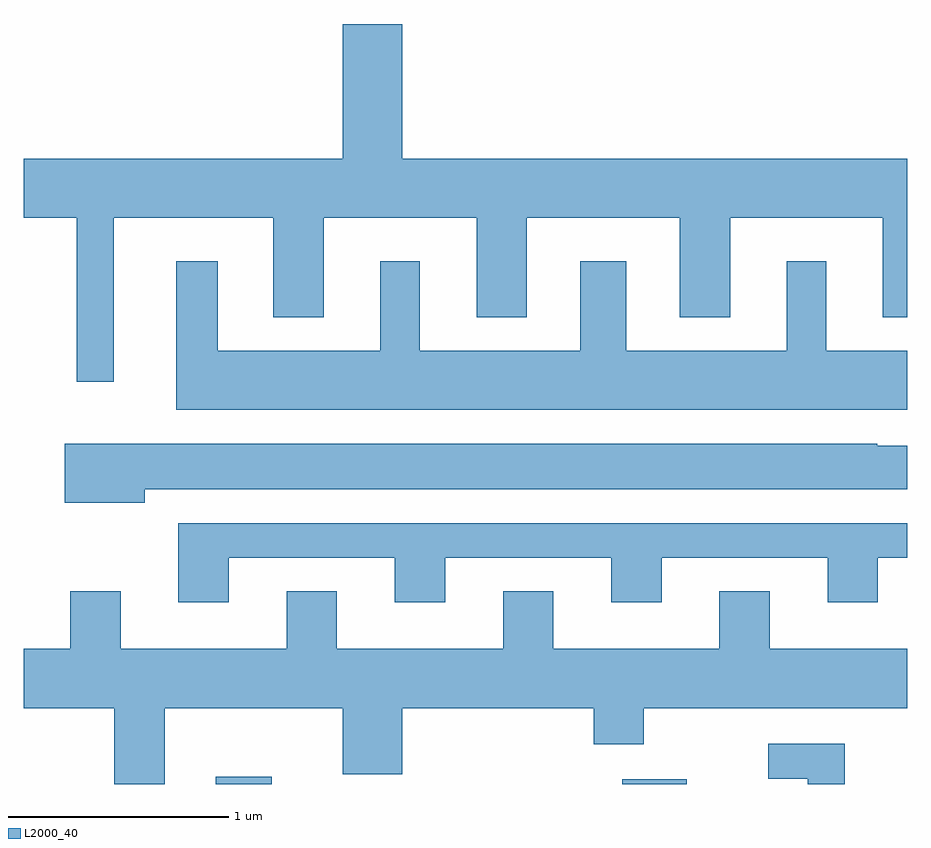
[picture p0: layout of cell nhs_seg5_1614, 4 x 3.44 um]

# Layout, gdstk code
import gdstk
lib = gdstk.Library(unit=1e-6, precision=1e-09)
def R(c, l, rs):  # rectangles x0, y0, x1, y1
    for r in rs: c.add(gdstk.rectangle(r[:2], r[2:], *l))
def P(c, l, *ps):  # polygons
    for p in ps: c.add(gdstk.Polygon(p, *l))
L2000_40 = (2000, 40)

nhs_seg5_1614 = lib.new_cell('nhs_seg5_1614')
R(nhs_seg5_1614, L2000_40, [(234.481,1392.072,234.734,1392.104), (236.321,1392.072,236.614,1392.094)])
P(nhs_seg5_1614, L2000_40, [(234.019,1394.636),(234.741,1394.636),(234.741,1394.186),(234.969,1394.186),(234.969,1394.636),(235.661,1394.636),(235.661,1394.186),(235.889,1394.186),(235.889,1394.636),(236.581,1394.636),(236.581,1394.186),(236.809,1394.186),(236.809,1394.636),(237.501,1394.636),(237.501,1394.186),(237.611,1394.186),(237.611,1394.904),(235.324,1394.904),(235.324,1395.514),(235.056,1395.514),(235.056,1394.904),(233.611,1394.904),(233.611,1394.636),(233.851,1394.636),(233.851,1393.893),(234.019,1393.893)],
  [(237.611,1394.034),(237.244,1394.034),(237.244,1394.439),(237.066,1394.439),(237.066,1394.034),(236.339,1394.034),(236.339,1394.439),(236.131,1394.439),(236.131,1394.034),(235.404,1394.034),(235.404,1394.439),(235.226,1394.439),(235.226,1394.034),(234.489,1394.034),(234.489,1394.439),(234.301,1394.439),(234.301,1393.766),(237.611,1393.766)],
  [(234.159,1393.406),(237.611,1393.406),(237.611,1393.604),(237.475,1393.604),(237.475,1393.614),(233.796,1393.614),(233.796,1393.346),(234.159,1393.346)],
  [(234.539,1393.096),(235.291,1393.096),(235.291,1392.896),(235.519,1392.896),(235.519,1393.096),(236.271,1393.096),(236.271,1392.896),(236.499,1392.896),(236.499,1393.096),(237.251,1393.096),(237.251,1392.896),(237.479,1392.896),(237.479,1393.096),(237.611,1393.096),(237.611,1393.254),(234.311,1393.254),(234.311,1392.896),(234.539,1392.896)],
  [(234.249,1392.416),(235.056,1392.416),(235.056,1392.116),(235.324,1392.116),(235.324,1392.416),(236.191,1392.416),(236.191,1392.251),(236.419,1392.251),(236.419,1392.416),(237.611,1392.416),(237.611,1392.684),(236.989,1392.684),(236.989,1392.944),(236.761,1392.944),(236.761,1392.684),(236.009,1392.684),(236.009,1392.944),(235.781,1392.944),(235.781,1392.684),(235.029,1392.684),(235.029,1392.944),(234.801,1392.944),(234.801,1392.684),(234.049,1392.684),(234.049,1392.944),(233.821,1392.944),(233.821,1392.684),(233.611,1392.684),(233.611,1392.416),(234.021,1392.416),(234.021,1392.072),(234.249,1392.072)],
  [(237.329,1392.254),(236.983,1392.254),(236.983,1392.096),(237.161,1392.096),(237.161,1392.072),(237.329,1392.072)])

lib.write_gds('nhs_seg5_1614.gds')
